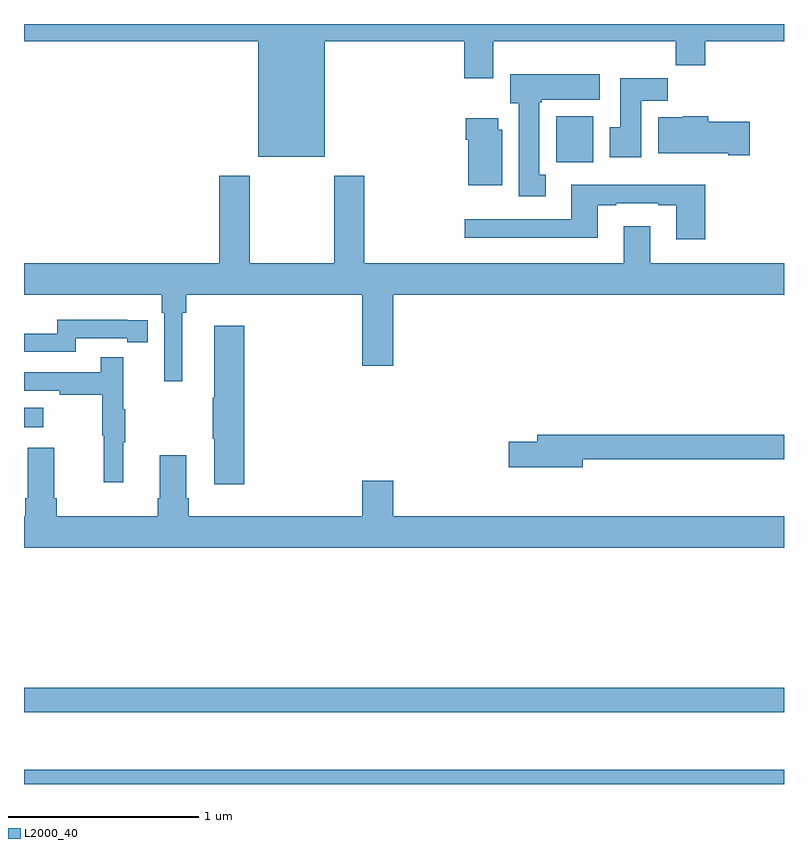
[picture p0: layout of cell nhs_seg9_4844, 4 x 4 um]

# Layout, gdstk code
import gdstk
lib = gdstk.Library(unit=1e-6, precision=1e-09)
def R(c, l, rs):  # rectangles x0, y0, x1, y1
    for r in rs: c.add(gdstk.rectangle(r[:2], r[2:], *l))
def P(c, l, *ps):  # polygons
    for p in ps: c.add(gdstk.Polygon(p, *l))
L2000_40 = (2000, 40)

nhs_seg9_4844 = lib.new_cell('nhs_seg9_4844')
R(nhs_seg9_4844, L2000_40, [(391,1204.5,395,1204.576), (391,1204.878,395,1205.006), (391,1206.377,391.102,1206.481), (393.8,1207.772,393.997,1208.014)])
P(nhs_seg9_4844, L2000_40, [(392.584,1208.408),(393.317,1208.408),(393.317,1208.214),(393.469,1208.214),(393.469,1208.408),(394.429,1208.408),(394.429,1208.284),(394.586,1208.284),(394.586,1208.408),(395,1208.408),(395,1208.5),(391,1208.5),(391,1208.408),(392.234,1208.408),(392.234,1207.802),(392.584,1207.802)],
  [(393.745,1207.706),(393.712,1207.706),(393.712,1208.089),(393.726,1208.089),(393.726,1208.102),(394.03,1208.102),(394.03,1208.236),(393.56,1208.236),(393.56,1208.082),(393.605,1208.082),(393.605,1207.593),(393.745,1207.593)],
  [(394.249,1208.096),(394.388,1208.096),(394.388,1208.215),(394.139,1208.215),(394.139,1207.956),(394.082,1207.956),(394.082,1207.8),(394.249,1207.8)],
  [(394.819,1207.986),(394.601,1207.986),(394.601,1208.014),(394.47,1208.014),(394.47,1208.008),(394.337,1208.008),(394.337,1207.82),(394.706,1207.82),(394.706,1207.808),(394.819,1207.808)],
  [(393.517,1207.944),(393.496,1207.944),(393.496,1208.005),(393.326,1208.005),(393.326,1207.892),(393.338,1207.892),(393.338,1207.652),(393.517,1207.652)],
  [(391.834,1206.98),(391.853,1206.98),(391.853,1207.076),(392.78,1207.076),(392.78,1206.702),(392.944,1206.702),(392.944,1207.076),(395,1207.076),(395,1207.24),(394.297,1207.24),(394.297,1207.435),(394.157,1207.435),(394.157,1207.24),(392.792,1207.24),(392.792,1207.702),(392.632,1207.702),(392.632,1207.24),(392.187,1207.24),(392.187,1207.702),(392.027,1207.702),(392.027,1207.24),(391,1207.24),(391,1207.076),(391.724,1207.076),(391.724,1206.98),(391.737,1206.98),(391.737,1206.621),(391.834,1206.621)],
  [(394.586,1207.654),(393.881,1207.654),(393.881,1207.473),(393.321,1207.473),(393.321,1207.376),(394.021,1207.376),(394.021,1207.545),(394.117,1207.545),(394.117,1207.557),(394.337,1207.557),(394.337,1207.545),(394.433,1207.545),(394.433,1207.368),(394.586,1207.368)],
  [(391.272,1206.846),(391.544,1206.846),(391.544,1206.826),(391.652,1206.826),(391.652,1206.942),(391.544,1206.942),(391.544,1206.943),(391.176,1206.943),(391.176,1206.87),(391,1206.87),(391,1206.774),(391.272,1206.774)],
  [(392.159,1206.913),(392,1206.913),(392,1206.533),(391.993,1206.533),(391.993,1206.316),(392,1206.316),(392,1206.078),(392.159,1206.078)],
  [(391.523,1206.299),(391.534,1206.299),(391.534,1206.473),(391.523,1206.473),(391.523,1206.745),(391.405,1206.745),(391.405,1206.666),(391,1206.666),(391,1206.57),(391.189,1206.57),(391.189,1206.55),(391.413,1206.55),(391.413,1206.336),(391.42,1206.336),(391.42,1206.087),(391.523,1206.087)],
  [(393.94,1206.21),(395,1206.21),(395,1206.338),(393.701,1206.338),(393.701,1206.302),(393.552,1206.302),(393.552,1206.167),(393.94,1206.167)],
  [(395,1205.908),(392.944,1205.908),(392.944,1206.097),(392.78,1206.097),(392.78,1205.908),(391.868,1205.908),(391.868,1206.004),(391.855,1206.004),(391.855,1206.229),(391.715,1206.229),(391.715,1206.004),(391.703,1206.004),(391.703,1205.908),(391.172,1205.908),(391.172,1206.004),(391.159,1206.004),(391.159,1206.271),(391.019,1206.271),(391.019,1206.004),(391.007,1206.004),(391.007,1205.908),(391,1205.908),(391,1205.744),(395,1205.744)])

lib.write_gds('nhs_seg9_4844.gds')
